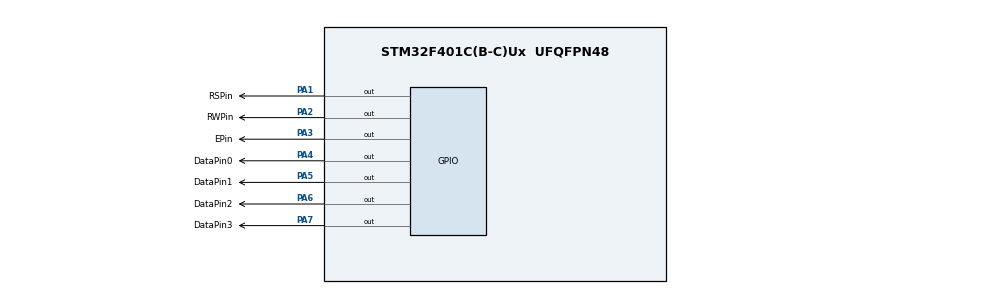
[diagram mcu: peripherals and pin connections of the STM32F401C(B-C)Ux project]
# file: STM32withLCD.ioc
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Mcu.Family=STM32F4
Mcu.Name=STM32F401C(B-C)Ux
Mcu.Package=UFQFPN48
NVIC.PriorityGroup=NVIC_PRIORITYGROUP_4
PA1.GPIO_Label=RSPin
PA1.Signal=GPIO_Output
PA13.Mode=Serial_Wire
PA13.Signal=SYS_JTMS-SWDIO
PA14.Mode=Serial_Wire
PA14.Signal=SYS_JTCK-SWCLK
PA2.GPIO_Label=RWPin
PA2.Signal=GPIO_Output
PA3.GPIO_Label=EPin
PA3.Signal=GPIO_Output
PA4.GPIO_Label=DataPin0
PA4.Signal=GPIO_Output
PA5.GPIO_Label=DataPin1
PA5.Signal=GPIO_Output
PA6.GPIO_Label=DataPin2
PA6.Signal=GPIO_Output
PA7.GPIO_Label=DataPin3
PA7.Signal=GPIO_Output
ProjectManager.HeapSize=0x200
ProjectManager.StackSize=0x400
ProjectManager.TargetToolchain=EWARM V8.50
RCC.AHBFreq_Value=16000000
RCC.APB1Freq_Value=16000000
RCC.APB2Freq_Value=16000000
RCC.CortexFreq_Value=16000000
RCC.HSE_VALUE=25000000
RCC.HSI_VALUE=16000000
RCC.LSE_VALUE=32768
RCC.SYSCLKFreq_VALUE=16000000
RCC.VCOOutputFreq_Value=192000000
board=custom

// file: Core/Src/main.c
/* USER CODE BEGIN Header */
/**
  ******************************************************************************
  * @file           : main.c
  * @brief          : Main program body
  ******************************************************************************
  * @attention
  *
  * Copyright (c) 2025 STMicroelectronics.
  * All rights reserved.
  *
  * This software is licensed under terms that can be found in the LICENSE file
  * in the root directory of this software component.
  * If no LICENSE file comes with this software, it is provided AS-IS.
  *
  ******************************************************************************
  */
/* USER CODE END Header */
#include "main.h"

/* USER CODE BEGIN Includes */
#include "gpio.h"
#include "driverLCD.h"
#include "delayTim.h"
/* USER CODE END Includes */

void SystemClock_Config(void);

/* USER CODE BEGIN 0 */
char str[] = "Hello";
char str1[] = "T";
char str2[] = "Rona ldok ";
char str3[] = "Next line";
/* USER CODE END 0 */

int main(void)
{

  /* MCU Configuration--------------------------------------------------------*/

  /* Reset of all peripherals, Initializes the Flash interface and the Systick. */
  LL_APB2_GRP1_EnableClock(LL_APB2_GRP1_PERIPH_SYSCFG);
  LL_APB1_GRP1_EnableClock(LL_APB1_GRP1_PERIPH_PWR);

  /* System interrupt init*/
  NVIC_SetPriorityGrouping(NVIC_PRIORITYGROUP_4);

  /* SysTick_IRQn interrupt configuration */
  NVIC_SetPriority(SysTick_IRQn, NVIC_EncodePriority(NVIC_GetPriorityGrouping(),15, 0));

  /* Configure the system clock */
  SystemClock_Config();

  /* Initialize all configured peripherals */
  MX_GPIO_Init();
  /* USER CODE BEGIN 2 */
  LCD_Init_4bit();
  /* USER CODE END 2 */

  /* Infinite loop */
  /* USER CODE BEGIN WHILE */
  while (1)
  {
    LCD_clear();
    delay_ms(1000);

    LCD_sendString(str, 0x05);
    delay_ms(1000);

    LCD_sendString(str2, 0x08);
    delay_ms(1000);

    LCD_sendString(str1, 0x01);
    delay_ms(1000);
    /* USER CODE END WHILE */

  }
}

void SystemClock_Config(void)
{
  LL_FLASH_SetLatency(LL_FLASH_LATENCY_0);
  while(LL_FLASH_GetLatency()!= LL_FLASH_LATENCY_0)
  {
  }
  LL_PWR_SetRegulVoltageScaling(LL_PWR_REGU_VOLTAGE_SCALE2);
  LL_RCC_HSI_SetCalibTrimming(16);
  LL_RCC_HSI_Enable();

   /* Wait till HSI is ready */
  while(LL_RCC_HSI_IsReady() != 1)
  {

  }
  LL_RCC_SetAHBPrescaler(LL_RCC_SYSCLK_DIV_1);
  LL_RCC_SetAPB1Prescaler(LL_RCC_APB1_DIV_1);
  LL_RCC_SetAPB2Prescaler(LL_RCC_APB2_DIV_1);
  LL_RCC_SetSysClkSource(LL_RCC_SYS_CLKSOURCE_HSI);

   /* Wait till System clock is ready */
  while(LL_RCC_GetSysClkSource() != LL_RCC_SYS_CLKSOURCE_STATUS_HSI)
  {

  }
  LL_Init1msTick(16000000);
  LL_SetSystemCoreClock(16000000);
  LL_RCC_SetTIMPrescaler(LL_RCC_TIM_PRESCALER_TWICE);
}

void Error_Handler(void)
{
  __disable_irq();
  while (1)
  {
  }
}
